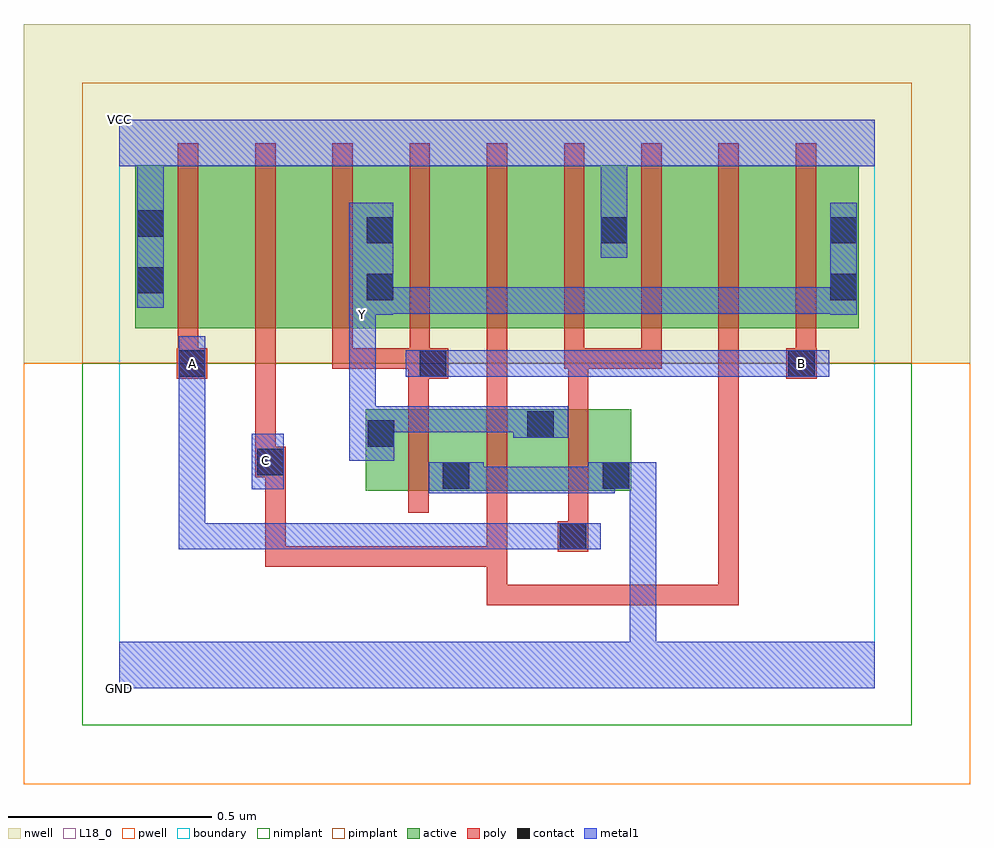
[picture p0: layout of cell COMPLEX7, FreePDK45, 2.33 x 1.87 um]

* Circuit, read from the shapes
.subckt COMPLEX7 A B C GND VCC Y
M1 GND B Y VSUBS nfet w=0.2u l=0.05u
M2 Y C GND VSUBS nfet w=0.2u l=0.05u
M3 GND A Y VSUBS nfet w=0.2u l=0.05u
M4 n1 A VCC n2 pfet w=0.4u l=0.05u
M5 n3 C n1 n2 pfet w=0.4u l=0.05u
M6 Y B n3 n2 pfet w=0.4u l=0.05u
M7 n4 B Y n2 pfet w=0.4u l=0.05u
M8 n5 C n4 n2 pfet w=0.4u l=0.05u
M9 VCC A n5 n2 pfet w=0.4u l=0.05u
M10 n6 A VCC n2 pfet w=0.4u l=0.05u
M11 n7 C n6 n2 pfet w=0.4u l=0.05u
M12 Y B n7 n2 pfet w=0.4u l=0.05u
.ends

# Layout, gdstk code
import gdstk
lib = gdstk.Library(unit=1e-6, precision=1e-09)
def R(c, l, rs):  # rectangles x0, y0, x1, y1
    for r in rs: c.add(gdstk.rectangle(r[:2], r[2:], *l))
def A(c, l, x, y, w, h, nx, ny, dx, dy):  # array of equal rectangles
    R(c, l, [(x+i*dx, y+j*dy, x+i*dx+w, y+j*dy+h) for i in range(nx) for j in range(ny)])
active = (1, 0)
pwell = (2, 0)
nwell = (3, 0)
nimplant = (4, 0)
pimplant = (5, 0)
poly = (9, 0)
contact = (10, 0)
metal1 = (11, 0)
L18_0 = (18, 0)
boundary = (235, 0)

complex7 = lib.new_cell('COMPLEX7')
A(complex7, active, 0.265, 0.887, 0.19, 0.4, 3, 1, 0.57, 0)
R(complex7, active, [(0.607,0.487,0.867,0.687), (0.792,0.487,1.075,0.687), (0.792,0.487,0.867,0.597), (1,0.487,1.26,0.687), (1.185,0.487,1.26,0.687), (0.607,0.532,0.682,0.687), (1,0.545,1.075,0.687), (0.04,0.887,0.265,1.287), (0.04,0.887,0.115,1.255), (0.455,0.887,0.68,1.287), (0.605,0.887,0.835,1.287), (1.025,0.887,1.255,1.287), (1.18,0.887,1.405,1.287), (1.595,0.887,1.82,1.287), (1.745,0.887,1.82,1.2), (0.605,0.907,0.68,1.2), (1.18,0.907,1.255,1.255)])
R(complex7, pwell, [(-0.235,-0.235,2.095,0.8)])
R(complex7, nwell, [(-0.235,0.8,2.095,1.635)])
R(complex7, nimplant, [(-0.09,-0.09,1.95,0.8)])
R(complex7, pimplant, [(-0.09,0.8,1.95,1.49)])
A(complex7, poly, 0.525, 0.787, 0.05, 0.095, 5, 1, 0.19, 0)
A(complex7, poly, 0.525, 0.787, 0.05, 0.05, 3, 1, 0.38, 0)
A(complex7, poly, 0.145, 0.832, 0.05, 0.51, 9, 1, 0.19, 0)
R(complex7, poly, [(0.905,0.205,0.955,0.255), (0.905,0.205,0.955,0.35), (0.905,0.205,1.202,0.255), (1.152,0.205,1.202,0.255), (1.152,0.205,1.202,0.255), (1.152,0.205,1.202,0.255), (1.152,0.205,1.335,0.255), (1.285,0.205,1.335,0.255), (1.285,0.205,1.335,0.255), (1.285,0.205,1.335,0.255), (1.285,0.205,1.335,0.255), (1.285,0.205,1.335,0.255), (1.285,0.205,1.525,0.255), (1.475,0.205,1.525,0.882), (1.475,0.205,1.525,0.255), (1.475,0.205,1.525,0.255), (1.475,0.205,1.525,0.255), (1.475,0.205,1.525,0.255), (1.475,0.205,1.525,0.255), (1.475,0.205,1.525,0.255), (1.475,0.205,1.525,0.255), (1.475,0.205,1.525,0.255), (1.475,0.205,1.525,0.255), (0.36,0.3,0.41,0.35), (0.36,0.3,0.41,0.35), (0.36,0.3,0.41,0.35), (0.36,0.3,0.41,0.35), (0.36,0.3,0.41,0.35), (0.36,0.3,0.542,0.35), (0.36,0.3,0.41,0.57), (0.492,0.3,0.542,0.35), (0.492,0.3,0.707,0.35), (0.657,0.3,0.707,0.35), (0.657,0.3,0.707,0.35), (0.657,0.3,0.707,0.35), (0.657,0.3,0.955,0.35), (0.905,0.3,0.955,0.35), (0.905,0.3,0.955,0.35), (0.905,0.3,0.955,0.35), (0.905,0.3,0.955,0.482), (1.08,0.337,1.155,0.412), (1.105,0.362,1.155,0.482), (0.712,0.432,0.762,0.742), (0.905,0.432,0.955,0.742), (1.105,0.432,1.155,0.742), (0.335,0.52,0.41,0.595), (0.36,0.52,0.41,0.57), (0.36,0.52,0.41,0.57), (0.335,0.545,0.385,0.882), (0.712,0.692,0.762,0.812), (0.905,0.692,0.955,0.837), (1.105,0.692,1.155,0.837), (0.142,0.762,0.217,0.837), (0.712,0.762,0.81,0.837), (1.642,0.762,1.717,0.837), (0.145,0.787,0.195,0.882), (0.525,0.787,0.575,0.837), (0.525,0.787,0.575,0.837), (0.525,0.787,0.762,0.837), (1.095,0.787,1.155,0.837), (1.105,0.787,1.335,0.837), (1.285,0.787,1.335,0.837), (1.285,0.787,1.335,0.837), (1.665,0.787,1.715,0.882)])
R(complex7, contact, [(1.085,0.342,1.15,0.407), (0.797,0.492,0.862,0.557), (1.19,0.492,1.255,0.557), (0.34,0.525,0.405,0.59), (0.612,0.595,0.677,0.66), (1.005,0.617,1.07,0.682), (0.147,0.767,0.212,0.832), (0.74,0.767,0.805,0.832), (1.647,0.767,1.712,0.832), (0.61,0.955,0.675,1.02), (1.75,0.955,1.815,1.02), (0.045,0.972,0.11,1.037), (0.61,1.095,0.675,1.16), (1.185,1.095,1.25,1.16), (1.75,1.095,1.815,1.16), (0.045,1.112,0.11,1.177)])
R(complex7, metal1, [(0,0,1.86,0.115), (1.257,0.05,1.322,0.115), (1.257,0.05,1.322,0.115), (1.257,0.05,1.322,0.557), (0.147,0.342,0.212,0.407), (0.147,0.342,0.415,0.407), (0.147,0.342,0.212,0.797), (0.35,0.342,0.415,0.407), (0.35,0.342,0.415,0.407), (0.35,0.342,0.415,0.407), (0.35,0.342,0.415,0.407), (0.35,0.342,0.415,0.407), (0.35,0.342,0.552,0.407), (0.487,0.342,0.552,0.407), (0.487,0.342,0.69,0.407), (0.625,0.342,0.69,0.407), (0.625,0.342,0.69,0.407), (0.625,0.342,0.69,0.407), (0.625,0.342,0.69,0.407), (0.625,0.342,0.69,0.407), (0.625,0.342,0.827,0.407), (0.762,0.342,0.827,0.407), (0.762,0.342,0.977,0.407), (0.912,0.342,0.977,0.407), (0.912,0.342,1.035,0.407), (0.97,0.342,1.035,0.407), (0.97,0.342,1.115,0.407), (1.05,0.342,1.185,0.407), (0.762,0.48,0.897,0.557), (0.832,0.48,0.977,0.545), (0.912,0.48,0.977,0.545), (0.912,0.48,1.035,0.545), (0.97,0.48,1.035,0.545), (0.97,0.48,1.22,0.545), (1.155,0.48,1.22,0.557), (0.327,0.49,0.405,0.627), (1.155,0.492,1.22,0.557), (1.155,0.492,1.322,0.557), (1.257,0.492,1.322,0.557), (1.257,0.492,1.322,0.557), (1.257,0.492,1.322,0.557), (1.257,0.492,1.322,0.557), (1.257,0.492,1.322,0.557), (1.257,0.492,1.322,0.557), (0.567,0.56,0.677,0.695), (0.97,0.617,1.105,0.695), (0.567,0.63,0.632,0.917), (0.612,0.63,0.84,0.695), (0.775,0.63,0.84,0.695), (0.775,0.63,0.84,0.695), (0.775,0.63,0.84,0.695), (0.775,0.63,0.977,0.695), (0.912,0.63,0.977,0.695), (0.912,0.63,1.035,0.695), (0.147,0.732,0.212,0.797), (0.147,0.732,0.212,0.797), (0.147,0.732,0.212,0.867), (0.705,0.767,0.84,0.832), (0.775,0.767,0.84,0.832), (0.775,0.767,0.84,0.832), (0.775,0.767,0.977,0.832), (0.912,0.767,0.977,0.832), (0.912,0.767,1.047,0.832), (0.982,0.767,1.047,0.832), (0.982,0.767,1.22,0.832), (1.155,0.767,1.22,0.832), (1.155,0.767,1.22,0.832), (1.155,0.767,1.22,0.832), (1.155,0.767,1.402,0.832), (1.337,0.767,1.402,0.832), (1.337,0.767,1.402,0.832), (1.337,0.767,1.402,0.832), (1.337,0.767,1.54,0.832), (1.475,0.767,1.54,0.832), (1.475,0.767,1.677,0.832), (1.612,0.767,1.677,0.832), (1.612,0.767,1.677,0.832), (1.612,0.767,1.747,0.832), (0.567,0.852,0.632,0.987), (0.567,0.92,0.675,1.195), (1.75,0.92,1.815,1.195), (0.567,0.922,0.632,0.987), (0.61,0.922,0.827,0.987), (0.762,0.922,0.827,0.987), (0.762,0.922,0.827,0.987), (0.762,0.922,0.827,0.987), (0.762,0.922,0.977,0.987), (0.912,0.922,0.977,0.987), (0.912,0.922,1.035,0.987), (0.97,0.922,1.035,0.987), (0.97,0.922,1.185,0.987), (1.12,0.922,1.185,0.987), (1.12,0.922,1.185,0.987), (1.12,0.922,1.185,0.987), (1.12,0.922,1.357,0.987), (1.292,0.922,1.357,0.987), (1.292,0.922,1.357,0.987), (1.292,0.922,1.357,0.987), (1.292,0.922,1.54,0.987), (1.475,0.922,1.54,0.987), (1.475,0.922,1.54,0.987), (1.475,0.922,1.54,0.987), (1.475,0.922,1.815,0.987), (1.75,0.922,1.815,0.987), (1.75,0.922,1.815,0.987), (0.045,0.937,0.11,1.212), (1.185,1.06,1.25,1.195), (1.185,1.13,1.25,1.35), (0.045,1.147,0.11,1.35), (0,1.285,1.86,1.4)])
R(complex7, L18_0, [(0,0,1.86,0.115), (1.257,0.05,1.322,0.115), (1.257,0.05,1.322,0.115), (1.257,0.05,1.322,0.557), (0.147,0.342,0.212,0.407), (0.147,0.342,0.212,0.797), (0.147,0.342,0.415,0.407), (0.35,0.342,0.415,0.407), (0.35,0.342,0.415,0.407), (0.35,0.342,0.415,0.407), (0.35,0.342,0.415,0.407), (0.35,0.342,0.415,0.407), (0.35,0.342,0.552,0.407), (0.487,0.342,0.552,0.407), (0.487,0.342,0.69,0.407), (0.625,0.342,0.69,0.407), (0.625,0.342,0.69,0.407), (0.625,0.342,0.69,0.407), (0.625,0.342,0.69,0.407), (0.625,0.342,0.69,0.407), (0.625,0.342,0.827,0.407), (0.762,0.342,0.827,0.407), (0.762,0.342,0.977,0.407), (0.912,0.342,0.977,0.407), (0.912,0.342,1.035,0.407), (0.97,0.342,1.035,0.407), (0.97,0.342,1.115,0.407), (1.05,0.342,1.185,0.407), (0.762,0.48,0.897,0.557), (0.832,0.48,0.977,0.545), (0.912,0.48,0.977,0.545), (0.912,0.48,1.035,0.545), (0.97,0.48,1.035,0.545), (0.97,0.48,1.22,0.545), (1.155,0.48,1.22,0.557), (0.327,0.49,0.405,0.627), (1.155,0.492,1.22,0.557), (1.155,0.492,1.322,0.557), (1.257,0.492,1.322,0.557), (1.257,0.492,1.322,0.557), (1.257,0.492,1.322,0.557), (1.257,0.492,1.322,0.557), (1.257,0.492,1.322,0.557), (1.257,0.492,1.322,0.557), (0.327,0.527,0.392,0.592), (0.567,0.56,0.677,0.695), (0.97,0.617,1.105,0.695), (0.567,0.63,0.632,0.917), (0.612,0.63,0.84,0.695), (0.775,0.63,0.84,0.695), (0.775,0.63,0.84,0.695), (0.775,0.63,0.84,0.695), (0.775,0.63,0.977,0.695), (0.912,0.63,0.977,0.695), (0.912,0.63,1.035,0.695), (0.147,0.732,0.212,0.867), (0.147,0.732,0.212,0.797), (0.147,0.732,0.212,0.797), (0.147,0.767,0.212,0.832), (0.705,0.767,0.84,0.832), (0.775,0.767,0.84,0.832), (0.775,0.767,0.84,0.832), (0.775,0.767,0.977,0.832), (0.912,0.767,0.977,0.832), (0.912,0.767,1.047,0.832), (0.982,0.767,1.047,0.832), (0.982,0.767,1.22,0.832), (1.155,0.767,1.22,0.832), (1.155,0.767,1.22,0.832), (1.155,0.767,1.22,0.832), (1.155,0.767,1.402,0.832), (1.337,0.767,1.402,0.832), (1.337,0.767,1.402,0.832), (1.337,0.767,1.402,0.832), (1.337,0.767,1.54,0.832), (1.475,0.767,1.54,0.832), (1.475,0.767,1.677,0.832), (1.612,0.767,1.677,0.832), (1.612,0.767,1.677,0.832), (1.612,0.767,1.747,0.832), (1.647,0.767,1.712,0.832), (0.567,0.852,0.632,0.987), (0.567,0.887,0.632,0.952), (0.567,0.92,0.675,1.195), (1.75,0.92,1.815,1.195), (0.567,0.922,0.632,0.987), (0.61,0.922,0.827,0.987), (0.762,0.922,0.827,0.987), (0.762,0.922,0.827,0.987), (0.762,0.922,0.827,0.987), (0.762,0.922,0.977,0.987), (0.912,0.922,0.977,0.987), (0.912,0.922,1.035,0.987), (0.97,0.922,1.035,0.987), (0.97,0.922,1.185,0.987), (1.12,0.922,1.185,0.987), (1.12,0.922,1.185,0.987), (1.12,0.922,1.185,0.987), (1.12,0.922,1.357,0.987), (1.292,0.922,1.357,0.987), (1.292,0.922,1.357,0.987), (1.292,0.922,1.357,0.987), (1.292,0.922,1.54,0.987), (1.475,0.922,1.54,0.987), (1.475,0.922,1.54,0.987), (1.475,0.922,1.54,0.987), (1.475,0.922,1.815,0.987), (1.75,0.922,1.815,0.987), (1.75,0.922,1.815,0.987), (0.045,0.937,0.11,1.212), (1.185,1.06,1.25,1.195), (1.185,1.13,1.25,1.35), (0.045,1.147,0.11,1.35), (0,1.285,1.86,1.4)])
R(complex7, boundary, [(0,0,1.86,1.4)])
complex7.add(gdstk.Label('A', (0.18,0.8), layer=11, texttype=0))
complex7.add(gdstk.Label('B', (1.68,0.8), layer=11, texttype=0))
complex7.add(gdstk.Label('C', (0.36,0.56), layer=11, texttype=0))
complex7.add(gdstk.Label('Y', (0.6,0.92), layer=11, texttype=0))
complex7.add(gdstk.Label('VCC', (0,1.4), layer=11, texttype=0))
complex7.add(gdstk.Label('GND', (0,0), layer=11, texttype=0))

lib.write_gds('COMPLEX7.gds')
